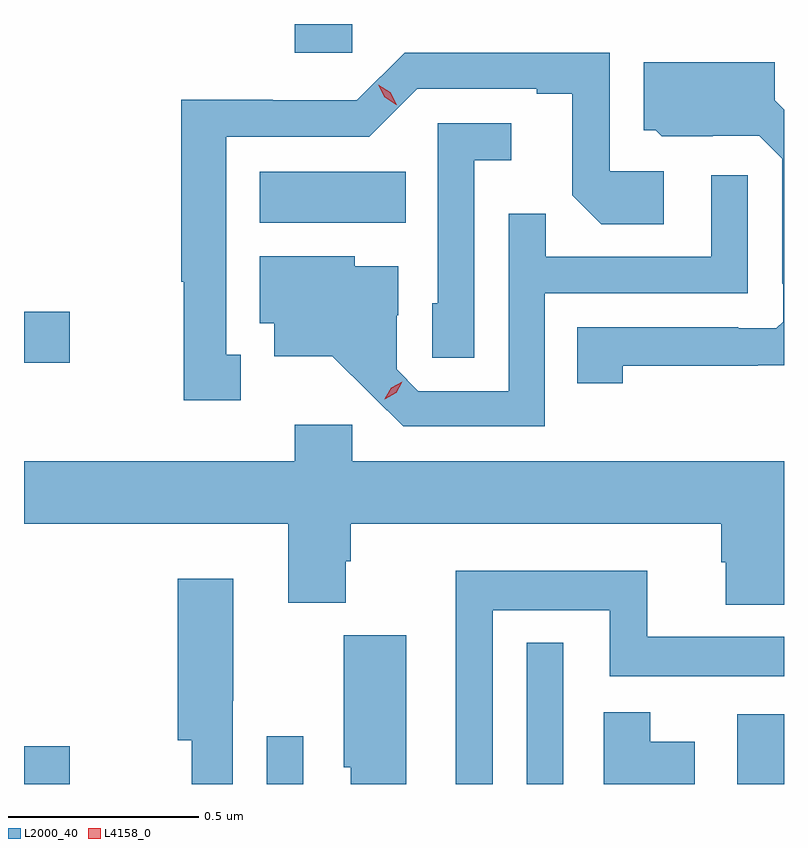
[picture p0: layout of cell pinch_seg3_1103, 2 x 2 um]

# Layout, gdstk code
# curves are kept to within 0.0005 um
import gdstk
lib = gdstk.Library(unit=1e-6, precision=1e-09)
def R(c, l, rs):  # rectangles x0, y0, x1, y1
    for r in rs: c.add(gdstk.rectangle(r[:2], r[2:], *l))
def P(c, l, *ps):  # polygons
    for p in ps: c.add(gdstk.Polygon(p, *l))
L2000_40 = (2000, 40)
L4158_0 = (4158, 0)

pinch_seg3_1103 = lib.new_cell('pinch_seg3_1103')
R(pinch_seg3_1103, L2000_40, [(323.676,676.255,323.797,676.355), (324.315,676.255,324.411,676.381), (324.999,676.255,325.095,676.627), (325.553,676.255,325.676,676.438), (323.676,677.363,323.797,677.498), (324.296,677.732,324.68,677.866), (324.389,678.179,324.54,678.255)])
P(pinch_seg3_1103, L2000_40, [(324.247,677.385),(324.208,677.385),(324.208,677.958),(324.585,677.958),(324.711,678.084),(325.025,678.084),(325.025,678.072),(325.119,678.072),(325.119,677.804),(325.195,677.728),(325.36,677.728),(325.36,677.868),(325.218,677.868),(325.218,678.18),(324.678,678.18),(324.552,678.054),(324.33,678.054),(324.33,678.056),(324.09,678.056),(324.09,677.577),(324.097,677.577),(324.097,677.265),(324.247,677.265)],
  [(325.251,677.356),(325.607,677.356),(325.607,677.357),(325.676,677.357),(325.676,678.029),(325.651,678.054),(325.651,678.154),(325.307,678.154),(325.307,677.976),(325.338,677.976),(325.354,677.96),(325.488,677.96),(325.488,677.961),(325.611,677.961),(325.671,677.901),(325.671,677.572),(325.674,677.572),(325.674,677.472),(325.656,677.454),(325.556,677.454),(325.556,677.457),(325.132,677.457),(325.132,677.31),(325.251,677.31)],
  [(324.861,677.897),(324.958,677.897),(324.958,677.994),(324.765,677.994),(324.765,677.52),(324.75,677.52),(324.75,677.377),(324.861,677.377)],
  [(325.047,677.547),(325.581,677.547),(325.581,677.857),(325.485,677.857),(325.485,677.643),(325.049,677.643),(325.049,677.756),(324.951,677.756),(324.951,677.289),(324.714,677.289),(324.657,677.346),(324.657,677.488),(324.661,677.488),(324.661,677.617),(324.546,677.617),(324.546,677.644),(324.296,677.644),(324.296,677.468),(324.335,677.468),(324.335,677.381),(324.487,677.381),(324.674,677.196),(325.047,677.196)],
  [(324.389,677.104),(323.676,677.104),(323.676,676.94),(324.371,676.94),(324.371,676.732),(324.523,676.732),(324.523,676.841),(324.536,676.841),(324.536,676.94),(325.511,676.94),(325.511,676.839),(325.523,676.839),(325.523,676.727),(325.676,676.727),(325.676,677.104),(324.54,677.104),(324.54,677.2),(324.389,677.2)],
  [(324.909,676.712),(325.218,676.712),(325.218,676.538),(325.676,676.538),(325.676,676.642),(325.316,676.642),(325.316,676.816),(324.812,676.816),(324.812,676.255),(324.909,676.255)],
  [(324.225,676.474),(324.226,676.474),(324.226,676.795),(324.08,676.795),(324.08,676.37),(324.117,676.37),(324.117,676.255),(324.225,676.255)],
  [(324.682,676.647),(324.518,676.647),(324.518,676.299),(324.536,676.299),(324.536,676.255),(324.682,676.255)],
  [(325.441,676.366),(325.324,676.366),(325.324,676.444),(325.202,676.444),(325.202,676.255),(325.441,676.255)])
P(pinch_seg3_1103, L4158_0, [(324.625,677.268),(324.625,677.269),(324.642,677.298),(324.672,677.314),(324.672,677.314),(324.672,677.313),(324.656,677.284),(324.625,677.268)],
  [(324.656,678.043),(324.625,678.062),(324.608,678.095),(324.608,678.095),(324.608,678.095),(324.64,678.076),(324.657,678.043),(324.657,678.043)])

lib.write_gds('pinch_seg3_1103.gds')
